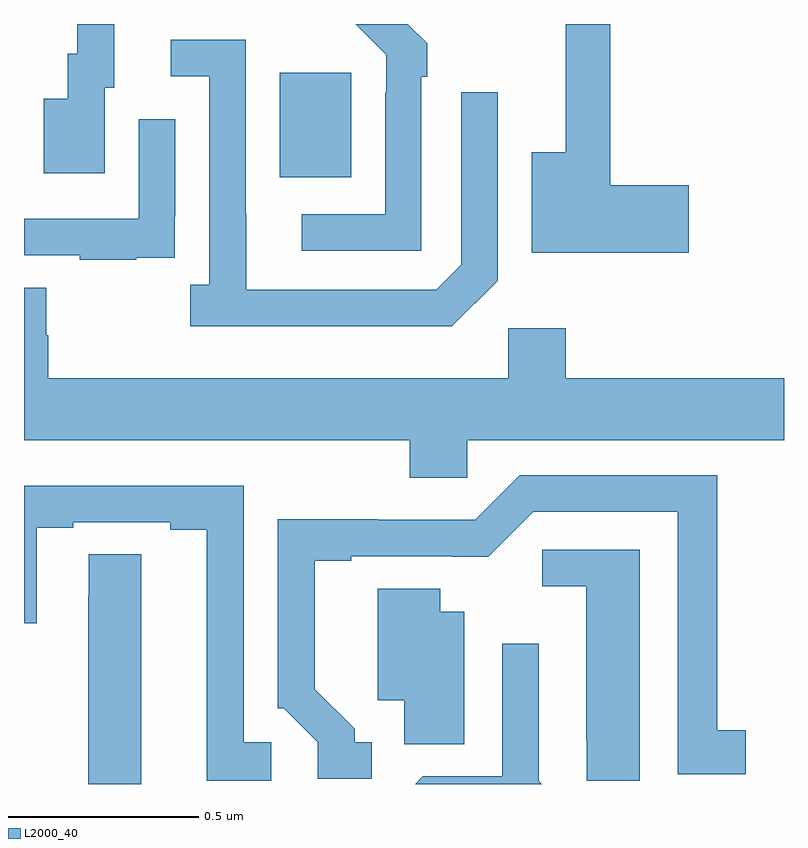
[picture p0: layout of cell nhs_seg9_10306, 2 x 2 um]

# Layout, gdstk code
import gdstk
lib = gdstk.Library(unit=1e-6, precision=1e-09)
def R(c, l, rs):  # rectangles x0, y0, x1, y1
    for r in rs: c.add(gdstk.rectangle(r[:2], r[2:], *l))
def P(c, l, *ps):  # polygons
    for p in ps: c.add(gdstk.Polygon(p, *l))
L2000_40 = (2000, 40)

nhs_seg9_10306 = lib.new_cell('nhs_seg9_10306')
R(nhs_seg9_10306, L2000_40, [(241.673,1213.097,241.861,1213.372)])
P(nhs_seg9_10306, L2000_40, [(242.046,1213.361),(242.061,1213.361),(242.061,1213.449),(242.01,1213.5),(241.873,1213.5),(241.953,1213.419),(241.953,1213.319),(241.95,1213.319),(241.95,1212.999),(241.731,1212.999),(241.731,1212.903),(242.046,1212.903)],
  [(241.213,1213.332),(241.237,1213.332),(241.237,1213.5),(241.14,1213.5),(241.14,1213.422),(241.115,1213.422),(241.115,1213.303),(241.052,1213.303),(241.052,1213.107),(241.213,1213.107)],
  [(242.749,1213.076),(242.543,1213.076),(242.543,1213.5),(242.426,1213.5),(242.426,1213.162),(242.336,1213.162),(242.336,1212.898),(242.749,1212.898)],
  [(242.247,1212.825),(242.247,1213.321),(242.151,1213.321),(242.151,1212.867),(242.085,1212.801),(241.585,1212.801),(241.585,1213.001),(241.584,1213.001),(241.584,1213.458),(241.386,1213.458),(241.386,1213.362),(241.488,1213.362),(241.488,1212.814),(241.437,1212.814),(241.437,1212.704),(242.126,1212.704)],
  [(241.295,1212.885),(241.397,1212.885),(241.397,1212.994),(241.398,1212.994),(241.398,1213.249),(241.302,1213.249),(241.302,1212.987),(241,1212.987),(241,1212.891),(241.147,1212.891),(241.147,1212.879),(241.295,1212.879)],
  [(242.166,1212.404),(243,1212.404),(243,1212.568),(242.426,1212.568),(242.426,1212.7),(242.274,1212.7),(242.274,1212.568),(241.064,1212.568),(241.064,1212.681),(241.059,1212.681),(241.059,1212.806),(241,1212.806),(241,1212.404),(242.015,1212.404),(242.015,1212.306),(242.166,1212.306)],
  [(241.915,1211.61),(241.87,1211.61),(241.87,1211.645),(241.765,1211.75),(241.765,1212.087),(241.861,1212.087),(241.861,1212.099),(242.126,1212.099),(242.126,1212.098),(242.222,1212.098),(242.34,1212.216),(242.72,1212.216),(242.72,1211.526),(242.899,1211.526),(242.899,1211.642),(242.824,1211.642),(242.824,1212.312),(242.304,1212.312),(242.187,1212.195),(241.931,1212.195),(241.931,1212.197),(241.668,1212.197),(241.668,1211.7),(241.683,1211.7),(241.773,1211.61),(241.773,1211.514),(241.915,1211.514)],
  [(241.651,1211.61),(241.578,1211.61),(241.578,1212.285),(241,1212.285),(241,1211.923),(241.033,1211.923),(241.033,1212.174),(241.129,1212.174),(241.129,1212.189),(241.385,1212.189),(241.385,1212.169),(241.481,1212.169),(241.481,1211.509),(241.651,1211.509)],
  [(242.62,1212.117),(242.364,1212.117),(242.364,1212.02),(242.48,1212.02),(242.48,1211.617),(242.481,1211.617),(242.481,1211.509),(242.62,1211.509)],
  [(241.309,1212.104),(241.17,1212.104),(241.17,1211.996),(241.169,1211.996),(241.169,1211.5),(241.309,1211.5)],
  [(242.158,1211.953),(242.095,1211.953),(242.095,1212.014),(241.931,1212.014),(241.931,1211.72),(242,1211.72),(242,1211.605),(242.158,1211.605)],
  [(242.355,1211.508),(242.355,1211.869),(242.259,1211.869),(242.259,1211.52),(242.049,1211.52),(242.029,1211.5),(242.363,1211.5)])

lib.write_gds('nhs_seg9_10306.gds')
